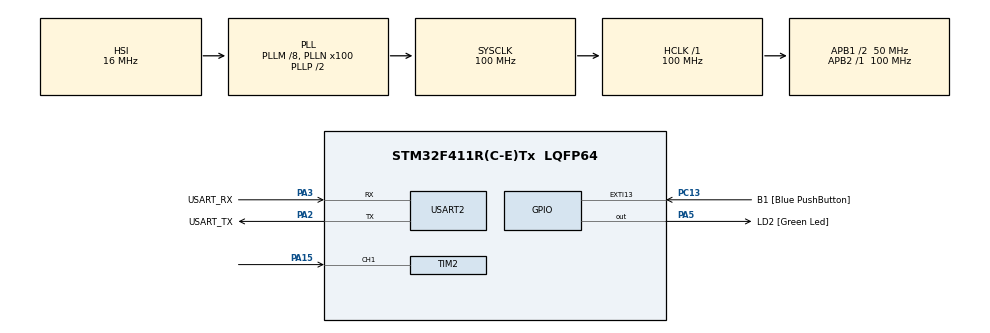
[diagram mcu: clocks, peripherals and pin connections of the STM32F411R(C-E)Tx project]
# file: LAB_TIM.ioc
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Dma.Request0=TIM2_CH1
Dma.TIM2_CH1.0.Direction=DMA_PERIPH_TO_MEMORY
Dma.TIM2_CH1.0.FIFOMode=DMA_FIFOMODE_DISABLE
Dma.TIM2_CH1.0.Instance=DMA1_Stream5
Dma.TIM2_CH1.0.MemDataAlignment=DMA_MDATAALIGN_WORD
Dma.TIM2_CH1.0.MemInc=DMA_MINC_ENABLE
Dma.TIM2_CH1.0.Mode=DMA_CIRCULAR
Dma.TIM2_CH1.0.PeriphDataAlignment=DMA_PDATAALIGN_WORD
Dma.TIM2_CH1.0.PeriphInc=DMA_PINC_DISABLE
Dma.TIM2_CH1.0.Priority=DMA_PRIORITY_LOW
Mcu.Family=STM32F4
Mcu.Name=STM32F411R(C-E)Tx
Mcu.Package=LQFP64
NVIC.DMA1_Stream5_IRQn=true\:0\:0\:false\:false\:true\:false\:true
NVIC.PriorityGroup=NVIC_PRIORITYGROUP_0
NVIC.TIM5_IRQn=true\:0\:0\:false\:false\:true\:true\:true
PA13.GPIO_Label=TMS
PA13.Mode=Serial_Wire
PA13.Signal=SYS_JTMS-SWDIO
PA14.GPIO_Label=TCK
PA14.Mode=Serial_Wire
PA14.Signal=SYS_JTCK-SWCLK
PA15.Signal=S_TIM2_CH1_ETR
PA2.GPIO_Label=USART_TX
PA2.Mode=Asynchronous
PA2.Signal=USART2_TX
PA3.GPIO_Label=USART_RX
PA3.Mode=Asynchronous
PA3.Signal=USART2_RX
PA5.GPIO_Label=LD2 [Green Led]
PA5.Signal=GPIO_Output
PB3.GPIO_Label=SWO
PB3.Signal=SYS_JTDO-SWO
PC13-ANTI_TAMP.GPIO_Label=B1 [Blue PushButton]
PC13-ANTI_TAMP.GPIO_ModeDefaultEXTI=GPIO_MODE_IT_FALLING
PC13-ANTI_TAMP.Signal=GPXTI13
PC14-OSC32_IN.Mode=LSE-External-Oscillator
PC14-OSC32_IN.Signal=RCC_OSC32_IN
PC15-OSC32_OUT.Mode=LSE-External-Oscillator
PC15-OSC32_OUT.Signal=RCC_OSC32_OUT
PH0\ -\ OSC_IN.Mode=HSE-External-Clock-Source
PH0\ -\ OSC_IN.Signal=RCC_OSC_IN
PH1\ -\ OSC_OUT.Mode=HSE-External-Clock-Source
PH1\ -\ OSC_OUT.Signal=RCC_OSC_OUT
ProjectManager.HeapSize=0x200
ProjectManager.StackSize=0x400
ProjectManager.TargetToolchain=STM32CubeIDE
RCC.48MHZClocksFreq_Value=50000000
RCC.AHBFreq_Value=100000000
RCC.APB1CLKDivider=RCC_HCLK_DIV2
RCC.APB1Freq_Value=50000000
RCC.APB1TimFreq_Value=100000000
RCC.APB2Freq_Value=100000000
RCC.APB2TimFreq_Value=100000000
RCC.CortexFreq_Value=100000000
RCC.FLatency-AdvancedSettings=FLASH_LATENCY_3
RCC.HCLKFreq_Value=100000000
RCC.HSE_VALUE=8000000
RCC.HSI_VALUE=16000000
RCC.PLLM=8
RCC.PLLN=100
RCC.SYSCLKFreq_VALUE=100000000
RCC.SYSCLKSource=RCC_SYSCLKSOURCE_PLLCLK
RCC.VCOOutputFreq_Value=200000000
SH.S_TIM2_CH1_ETR.0=TIM2_CH1,Input_Capture1_from_TI1
TIM2.Channel-Input_Capture1_from_TI1=TIM_CHANNEL_1
TIM2.ICFilter_CH1=2
TIM2.Prescaler=99
TIM5.Prescaler=99
USART2.VirtualMode=VM_ASYNC
VP_TIM2_VS_ClockSourceINT.Mode=Internal
VP_TIM5_VS_ClockSourceINT.Mode=Internal
board=NUCLEO-F411RE

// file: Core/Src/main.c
/* USER CODE BEGIN Header */
/**
  ******************************************************************************
  * @file           : main.c
  * @brief          : Main program body
  ******************************************************************************
  * @attention
  *
  * <h2><center>&copy; Copyright (c) 2021 STMicroelectronics.
  * All rights reserved.</center></h2>
  *
  * This software component is licensed by ST under BSD 3-Clause license,
  * the "License"; You may not use this file except in compliance with the
  * License. You may obtain a copy of the License at:
  *                        opensource.org/licenses/BSD-3-Clause
  *
  ******************************************************************************
  */
/* USER CODE END Header */
#include "main.h"

TIM_HandleTypeDef htim2;
TIM_HandleTypeDef htim5;
DMA_HandleTypeDef hdma_tim2_ch1;

UART_HandleTypeDef huart2;

void SystemClock_Config(void);
static void MX_GPIO_Init(void);
static void MX_DMA_Init(void);
static void MX_USART2_UART_Init(void);
static void MX_TIM2_Init(void);
static void MX_TIM5_Init(void);

/* USER CODE BEGIN 0 */
uint64_t _micros=0;
uint64_t micros();
uint64_t timestamp=0;
float rpm=0;
uint32_t capturedata[12]={0};
uint64_t q=0;
float sumavg();
uint64_t avg=0;
uint64_t avgpre=0;
float rpmpre=0;
float rpmm=0;
float f=0;
uint64_t timestamp2=0;
/* USER CODE END 0 */

int main(void)
{

  /* MCU Configuration--------------------------------------------------------*/

  /* Reset of all peripherals, Initializes the Flash interface and the Systick. */
  HAL_Init();

  /* Configure the system clock */
  SystemClock_Config();

  /* Initialize all configured peripherals */
  MX_GPIO_Init();
  MX_DMA_Init();
  MX_USART2_UART_Init();
  MX_TIM2_Init();
  MX_TIM5_Init();
  /* USER CODE BEGIN 2 */
  HAL_TIM_Base_Start_IT(&htim5);

  HAL_TIM_Base_Start_IT(&htim2);
  HAL_TIM_IC_Start_DMA(&htim2, TIM_CHANNEL_1, (uint32_t*)capturedata,12);
  /* USER CODE END 2 */

  /* Infinite loop */
  /* USER CODE BEGIN WHILE */
  while (1)
  {
	  if(micros()-timestamp2 > 1000000){
	  	  	timestamp2 = micros();
	  	  	HAL_GPIO_TogglePin(LD2_GPIO_Port,LD2_Pin);
	  	  }

	  if(__HAL_DMA_GET_COUNTER(htim2.hdma[TIM_DMA_ID_CC1])==1){
		 avg=htim2.Instance->CNT-timestamp;
	  }
	  if(__HAL_DMA_GET_COUNTER(htim2.hdma[TIM_DMA_ID_CC1])==12){

		  timestamp=htim2.Instance->CNT;
	  }

	  rpm=(float)60*1/avg*1000000/64;

    /* USER CODE END WHILE */

  }
}

void SystemClock_Config(void)
{
  RCC_OscInitTypeDef RCC_OscInitStruct = {0};
  RCC_ClkInitTypeDef RCC_ClkInitStruct = {0};

  /** Configure the main internal regulator output voltage
  */
  __HAL_RCC_PWR_CLK_ENABLE();
  __HAL_PWR_VOLTAGESCALING_CONFIG(PWR_REGULATOR_VOLTAGE_SCALE1);
  /** Initializes the RCC Oscillators according to the specified parameters
  * in the RCC_OscInitTypeDef structure.
  */
  RCC_OscInitStruct.OscillatorType = RCC_OSCILLATORTYPE_HSI;
  RCC_OscInitStruct.HSIState = RCC_HSI_ON;
  RCC_OscInitStruct.HSICalibrationValue = RCC_HSICALIBRATION_DEFAULT;
  RCC_OscInitStruct.PLL.PLLState = RCC_PLL_ON;
  RCC_OscInitStruct.PLL.PLLSource = RCC_PLLSOURCE_HSI;
  RCC_OscInitStruct.PLL.PLLM = 8;
  RCC_OscInitStruct.PLL.PLLN = 100;
  RCC_OscInitStruct.PLL.PLLP = RCC_PLLP_DIV2;
  RCC_OscInitStruct.PLL.PLLQ = 4;
  if (HAL_RCC_OscConfig(&RCC_OscInitStruct) != HAL_OK)
  {
    Error_Handler();
  }
  /** Initializes the CPU, AHB and APB buses clocks
  */
  RCC_ClkInitStruct.ClockType = RCC_CLOCKTYPE_HCLK|RCC_CLOCKTYPE_SYSCLK
                              |RCC_CLOCKTYPE_PCLK1|RCC_CLOCKTYPE_PCLK2;
  RCC_ClkInitStruct.SYSCLKSource = RCC_SYSCLKSOURCE_PLLCLK;
  RCC_ClkInitStruct.AHBCLKDivider = RCC_SYSCLK_DIV1;
  RCC_ClkInitStruct.APB1CLKDivider = RCC_HCLK_DIV2;
  RCC_ClkInitStruct.APB2CLKDivider = RCC_HCLK_DIV1;

  if (HAL_RCC_ClockConfig(&RCC_ClkInitStruct, FLASH_LATENCY_3) != HAL_OK)
  {
    Error_Handler();
  }
}

static void MX_TIM2_Init(void)
{

  TIM_ClockConfigTypeDef sClockSourceConfig = {0};
  TIM_MasterConfigTypeDef sMasterConfig = {0};
  TIM_IC_InitTypeDef sConfigIC = {0};

  htim2.Instance = TIM2;
  htim2.Init.Prescaler = 99;
  htim2.Init.CounterMode = TIM_COUNTERMODE_UP;
  htim2.Init.Period = 4294967295;
  htim2.Init.ClockDivision = TIM_CLOCKDIVISION_DIV1;
  htim2.Init.AutoReloadPreload = TIM_AUTORELOAD_PRELOAD_DISABLE;
  if (HAL_TIM_Base_Init(&htim2) != HAL_OK)
  {
    Error_Handler();
  }
  sClockSourceConfig.ClockSource = TIM_CLOCKSOURCE_INTERNAL;
  if (HAL_TIM_ConfigClockSource(&htim2, &sClockSourceConfig) != HAL_OK)
  {
    Error_Handler();
  }
  if (HAL_TIM_IC_Init(&htim2) != HAL_OK)
  {
    Error_Handler();
  }
  sMasterConfig.MasterOutputTrigger = TIM_TRGO_RESET;
  sMasterConfig.MasterSlaveMode = TIM_MASTERSLAVEMODE_DISABLE;
  if (HAL_TIMEx_MasterConfigSynchronization(&htim2, &sMasterConfig) != HAL_OK)
  {
    Error_Handler();
  }
  sConfigIC.ICPolarity = TIM_INPUTCHANNELPOLARITY_RISING;
  sConfigIC.ICSelection = TIM_ICSELECTION_DIRECTTI;
  sConfigIC.ICPrescaler = TIM_ICPSC_DIV1;
  sConfigIC.ICFilter = 2;
  if (HAL_TIM_IC_ConfigChannel(&htim2, &sConfigIC, TIM_CHANNEL_1) != HAL_OK)
  {
    Error_Handler();
  }

}

static void MX_TIM5_Init(void)
{

  TIM_ClockConfigTypeDef sClockSourceConfig = {0};
  TIM_MasterConfigTypeDef sMasterConfig = {0};

  htim5.Instance = TIM5;
  htim5.Init.Prescaler = 99;
  htim5.Init.CounterMode = TIM_COUNTERMODE_UP;
  htim5.Init.Period = 4294967295;
  htim5.Init.ClockDivision = TIM_CLOCKDIVISION_DIV1;
  htim5.Init.AutoReloadPreload = TIM_AUTORELOAD_PRELOAD_DISABLE;
  if (HAL_TIM_Base_Init(&htim5) != HAL_OK)
  {
    Error_Handler();
  }
  sClockSourceConfig.ClockSource = TIM_CLOCKSOURCE_INTERNAL;
  if (HAL_TIM_ConfigClockSource(&htim5, &sClockSourceConfig) != HAL_OK)
  {
    Error_Handler();
  }
  sMasterConfig.MasterOutputTrigger = TIM_TRGO_RESET;
  sMasterConfig.MasterSlaveMode = TIM_MASTERSLAVEMODE_DISABLE;
  if (HAL_TIMEx_MasterConfigSynchronization(&htim5, &sMasterConfig) != HAL_OK)
  {
    Error_Handler();
  }

}

static void MX_USART2_UART_Init(void)
{

  huart2.Instance = USART2;
  huart2.Init.BaudRate = 115200;
  huart2.Init.WordLength = UART_WORDLENGTH_8B;
  huart2.Init.StopBits = UART_STOPBITS_1;
  huart2.Init.Parity = UART_PARITY_NONE;
  huart2.Init.Mode = UART_MODE_TX_RX;
  huart2.Init.HwFlowCtl = UART_HWCONTROL_NONE;
  huart2.Init.OverSampling = UART_OVERSAMPLING_16;
  if (HAL_UART_Init(&huart2) != HAL_OK)
  {
    Error_Handler();
  }

}

static void MX_DMA_Init(void)
{

  /* DMA controller clock enable */
  __HAL_RCC_DMA1_CLK_ENABLE();

  /* DMA interrupt init */
  /* DMA1_Stream5_IRQn interrupt configuration */
  HAL_NVIC_SetPriority(DMA1_Stream5_IRQn, 0, 0);
  HAL_NVIC_EnableIRQ(DMA1_Stream5_IRQn);

}

static void MX_GPIO_Init(void)
{
  GPIO_InitTypeDef GPIO_InitStruct = {0};

  /* GPIO Ports Clock Enable */
  __HAL_RCC_GPIOC_CLK_ENABLE();
  __HAL_RCC_GPIOH_CLK_ENABLE();
  __HAL_RCC_GPIOA_CLK_ENABLE();
  __HAL_RCC_GPIOB_CLK_ENABLE();

  /*Configure GPIO pin Output Level */
  HAL_GPIO_WritePin(LD2_GPIO_Port, LD2_Pin, GPIO_PIN_RESET);

  /*Configure GPIO pin : B1_Pin */
  GPIO_InitStruct.Pin = B1_Pin;
  GPIO_InitStruct.Mode = GPIO_MODE_IT_FALLING;
  GPIO_InitStruct.Pull = GPIO_NOPULL;
  HAL_GPIO_Init(B1_GPIO_Port, &GPIO_InitStruct);

  /*Configure GPIO pin : LD2_Pin */
  GPIO_InitStruct.Pin = LD2_Pin;
  GPIO_InitStruct.Mode = GPIO_MODE_OUTPUT_PP;
  GPIO_InitStruct.Pull = GPIO_NOPULL;
  GPIO_InitStruct.Speed = GPIO_SPEED_FREQ_LOW;
  HAL_GPIO_Init(LD2_GPIO_Port, &GPIO_InitStruct);

}

/* USER CODE BEGIN 4 */
void HAL_TIM_PeriodElapsedCallback(TIM_HandleTypeDef *htim)
{
	if(htim == &htim5){
		_micros += 4294967295;
	 }

}
uint64_t micros()
{
	return _micros + htim5.Instance->CNT;
}
//float sumavg()
//{
//	float q=0;
//	q=(float)1/(capturedata[12-__HAL_DMA_GET_COUNTER(htim2.hdma[TIM_DMA_ID_CC1])]-capturedata[12-__HAL_DMA_GET_COUNTER(htim2.hdma[TIM_DMA_ID_CC1])-1]);
//
//	return q*1000000;
//}
/* USER CODE END 4 */

void Error_Handler(void)
{
  __disable_irq();
  while (1)
  {
  }
}

/************************ (C) COPYRIGHT STMicroelectronics *****END OF FILE****/
